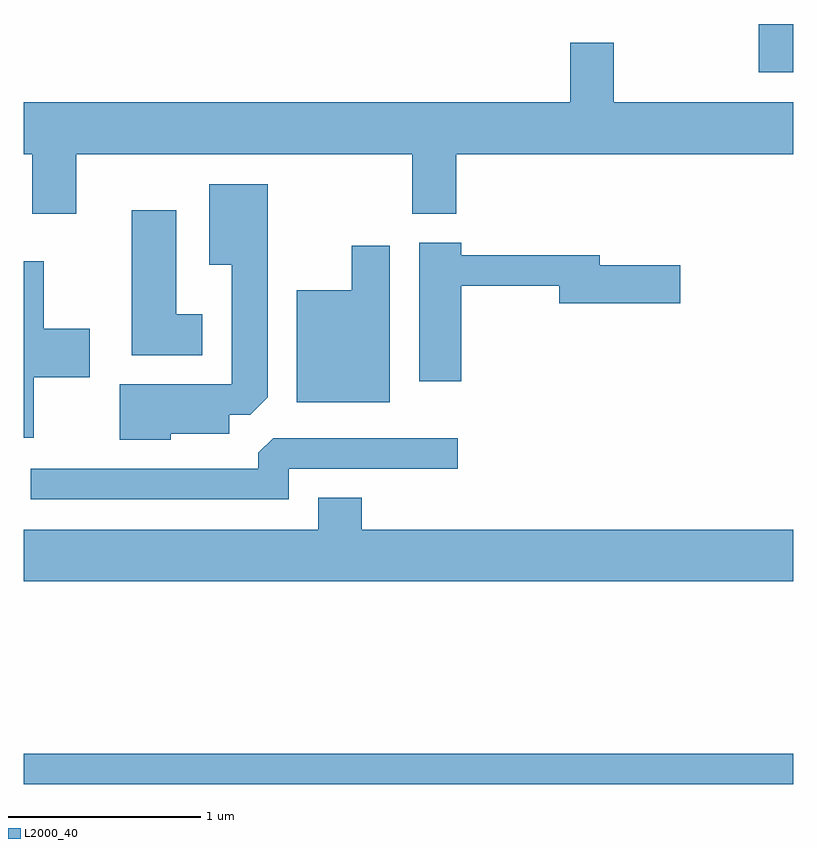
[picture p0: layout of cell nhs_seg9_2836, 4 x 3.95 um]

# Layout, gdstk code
import gdstk
lib = gdstk.Library(unit=1e-6, precision=1e-09)
def R(c, l, rs):  # rectangles x0, y0, x1, y1
    for r in rs: c.add(gdstk.rectangle(r[:2], r[2:], *l))
def P(c, l, *ps):  # polygons
    for p in ps: c.add(gdstk.Polygon(p, *l))
L2000_40 = (2000, 40)

nhs_seg9_2836 = lib.new_cell('nhs_seg9_2836')
R(nhs_seg9_2836, L2000_40, [(267.611,2048.481,271.611,2048.639), (271.431,2052.181,271.611,2052.432)])
P(nhs_seg9_2836, L2000_40, [(267.884,2051.756),(269.631,2051.756),(269.631,2051.446),(269.859,2051.446),(269.859,2051.756),(271.611,2051.756),(271.611,2052.024),(270.679,2052.024),(270.679,2052.334),(270.451,2052.334),(270.451,2052.024),(267.611,2052.024),(267.611,2051.756),(267.656,2051.756),(267.656,2051.446),(267.884,2051.446)],
  [(268.374,2050.301),(268.679,2050.301),(268.679,2050.401),(268.789,2050.401),(268.879,2050.492),(268.879,2051.599),(268.576,2051.599),(268.576,2051.181),(268.691,2051.181),(268.691,2050.559),(268.111,2050.559),(268.111,2050.271),(268.374,2050.271)],
  [(268.539,2050.924),(268.404,2050.924),(268.404,2051.464),(268.171,2051.464),(268.171,2050.711),(268.539,2050.711)],
  [(269.884,2051.071),(270.396,2051.071),(270.396,2050.981),(271.024,2050.981),(271.024,2051.179),(270.604,2051.179),(270.604,2051.229),(269.884,2051.229),(269.884,2051.294),(269.666,2051.294),(269.666,2050.576),(269.884,2050.576)],
  [(269.514,2051.279),(269.316,2051.279),(269.316,2051.049),(269.031,2051.049),(269.031,2050.466),(269.514,2050.466)],
  [(267.664,2050.596),(267.954,2050.596),(267.954,2050.849),(267.714,2050.849),(267.714,2051.199),(267.611,2051.199),(267.611,2050.281),(267.664,2050.281)],
  [(268.989,2050.121),(269.868,2050.121),(269.868,2050.279),(268.907,2050.279),(268.831,2050.204),(268.831,2050.119),(267.648,2050.119),(267.648,2049.961),(268.989,2049.961)],
  [(271.611,2049.804),(269.369,2049.804),(269.369,2049.969),(269.141,2049.969),(269.141,2049.804),(267.611,2049.804),(267.611,2049.536),(271.611,2049.536)])

lib.write_gds('nhs_seg9_2836.gds')
